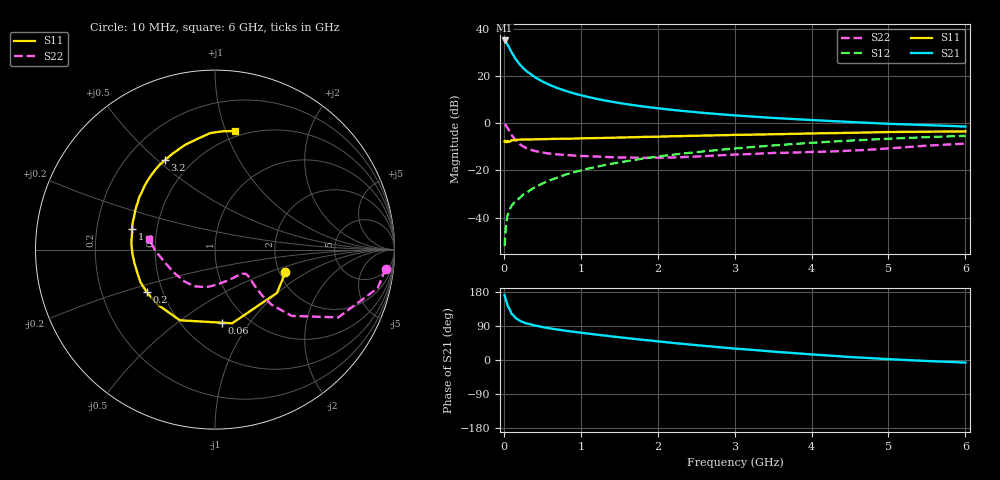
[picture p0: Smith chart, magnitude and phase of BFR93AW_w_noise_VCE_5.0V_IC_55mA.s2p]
! Infineon Technologies  Discrete & RF Semiconductors
! BFR93AW
! VCE =  5.0 V,  IC =  55 mA
! Common Emitter S-Parameters:  Jan 2017
# GHz  S  MA  R  50
!  f  S11  S21  S12  S22
! GHz  MAG  ANG  MAG  ANG  MAG  ANG  MAG  ANG
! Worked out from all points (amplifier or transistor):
!   77 points, 10 MHz to 6 GHz, reference 50 ohm
!   highest |S21| = 35.0 dB at 10 MHz (marker M1)
!   |S21| within 3 dB of that: start of sweep to 68.73 MHz
!   unconditionally stable (mu >= 1): 458.7 MHz to 2.033 GHz
!   at 130 MHz: K = 0.63, MSG = 31.1 dB, |S12| = -33.7 dB
!   at 2.2 GHz: K = 0.99, MSG = 9.5 dB, |S12| = -13.3 dB
!   at 6 GHz: K = 0.89, MSG = 2.0 dB, |S12| = -5.3 dB
!   lowest NFmin = 2.42 dB at 450 MHz
!   S11 on the Smith chart (normalised r, x): 10 MHz: 2.15, -0.66; 60 MHz: 0.76, -0.75; 200 MHz: 0.41, -0.24; 1 GHz: 0.36, +0.11; 3.2 GHz: 0.36, +0.53; 6 GHz: 0.45, +1.07
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0.01  0.4123 -17.9  56.24 171.1  0.0025 84.3  0.9569 -6.4
0.02  0.4214 -34.9  54.91 163.1  0.0047 83.1  0.9313 -13.3
0.05  0.4215 -76.9  45.57 142.4  0.0116 67.6  0.7842 -28.8
0.06  0.4089 -84.8  42.44 139.4  0.0128 65.8  0.7384 -30.6
0.1  0.4398 -116.4  31.61 122.1  0.0178 61.2  0.5657 -40.8
0.15  0.4434 -136.7  23.16 111.3  0.0224 61.2  0.4388 -44.3
0.2  0.4479 -148.3  18.05 104.6  0.0257 64.4  0.3669 -44.2
0.25  0.4532 -156.3  14.75 99.7  0.0308 64.9  0.3225 -43.2
0.3  0.4514 -162.1  12.4 96.4  0.0343 66.7  0.2921 -42.0
0.4  0.455 -170.0  9.473 91.0  0.0436 69.9  0.2582 -39.8
0.5  0.4594 -176.0  7.628 87.0  0.0528 70.4  0.2391 -38.7
0.6  0.4631 179.6  6.405 83.5  0.0622 71.4  0.2266 -38.2
0.7  0.4673 175.7  5.516 80.4  0.0709 72.2  0.2186 -38.4
1  0.4772 165.8  3.912 72.1  0.0999 71.9  0.2027 -41.8
1.1  0.4807 163.1  3.573 69.7  0.1099 71.5  0.1999 -43.8
1.5  0.4964 153.2  2.672 60.1  0.1479 69.4  0.1884 -53.6
2.1  0.5231 140.0  1.985 47.2  0.206 64.6  0.1869 -74.5
3.1  0.5676 121.0  1.426 28.7  0.3 55.1  0.2192 -108.3
3.2  0.5708 119.3  1.391 27.2  0.3093 54.1  0.2222 -111.2
4.1  0.6096 104.6  1.144 13.4  0.3927 44.6  0.248 -137.8
5.1  0.6517 90.9  0.958 1.3  0.4761 33.5  0.3002 -170.2
6  0.6702 80.6  0.849 -6.8  0.5402 23.4  0.3701 170.9
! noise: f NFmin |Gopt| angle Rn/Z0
0.45  2.42  0.28  -177  0.18
0.9  2.73  0.33  -166  0.19
1.9  3.88  0.54  -131  0.46
2.4  4.64  0.58  -122  0.86
